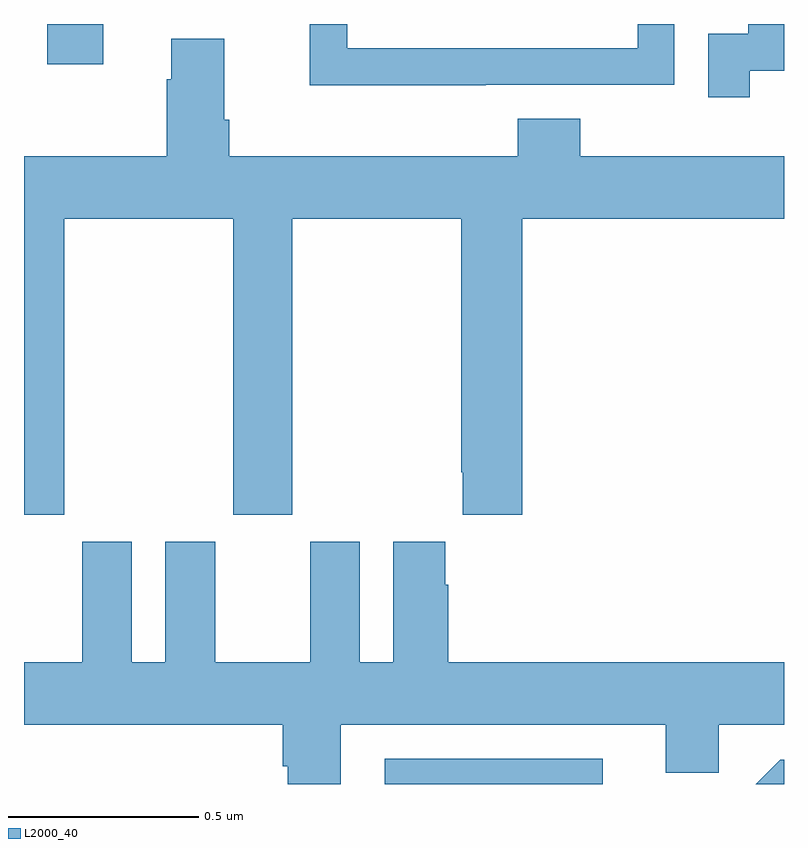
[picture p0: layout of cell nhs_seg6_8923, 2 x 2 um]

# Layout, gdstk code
import gdstk
lib = gdstk.Library(unit=1e-6, precision=1e-09)
def R(c, l, rs):  # rectangles x0, y0, x1, y1
    for r in rs: c.add(gdstk.rectangle(r[:2], r[2:], *l))
def P(c, l, *ps):  # polygons
    for p in ps: c.add(gdstk.Polygon(p, *l))
L2000_40 = (2000, 40)

nhs_seg6_8923 = lib.new_cell('nhs_seg6_8923')
R(nhs_seg6_8923, L2000_40, [(227.949,960.5,228.523,960.567), (227.061,962.394,227.209,962.5)])
P(nhs_seg6_8923, L2000_40, [(228.215,962.34),(228.711,962.34),(228.711,962.5),(228.615,962.5),(228.615,962.436),(227.851,962.436),(227.851,962.5),(227.752,962.5),(227.752,962.339),(228.215,962.339)],
  [(228.91,962.377),(229,962.377),(229,962.5),(228.906,962.5),(228.906,962.475),(228.801,962.475),(228.801,962.307),(228.91,962.307)],
  [(228.311,961.988),(229,961.988),(229,962.152),(228.464,962.152),(228.464,962.251),(228.299,962.251),(228.299,962.152),(227.54,962.152),(227.54,962.248),(227.527,962.248),(227.527,962.461),(227.387,962.461),(227.387,962.354),(227.375,962.354),(227.375,962.152),(227,962.152),(227,961.209),(227.106,961.209),(227.106,961.988),(227.551,961.988),(227.551,961.209),(227.706,961.209),(227.706,961.988),(228.151,961.988),(228.151,961.321),(228.155,961.321),(228.155,961.209),(228.311,961.209)],
  [(227.681,960.547),(227.694,960.547),(227.694,960.5),(227.833,960.5),(227.833,960.656),(228.689,960.656),(228.689,960.529),(228.828,960.529),(228.828,960.656),(229,960.656),(229,960.82),(228.116,960.82),(228.116,961.025),(228.109,961.025),(228.109,961.138),(227.972,961.138),(227.972,960.82),(227.884,960.82),(227.884,961.138),(227.753,961.138),(227.753,960.82),(227.503,960.82),(227.503,961.138),(227.372,961.138),(227.372,960.82),(227.284,960.82),(227.284,961.138),(227.153,961.138),(227.153,960.82),(227,960.82),(227,960.656),(227.681,960.656)],
  [(229,960.564),(228.99,960.564),(228.926,960.5),(229,960.5)])

lib.write_gds('nhs_seg6_8923.gds')
